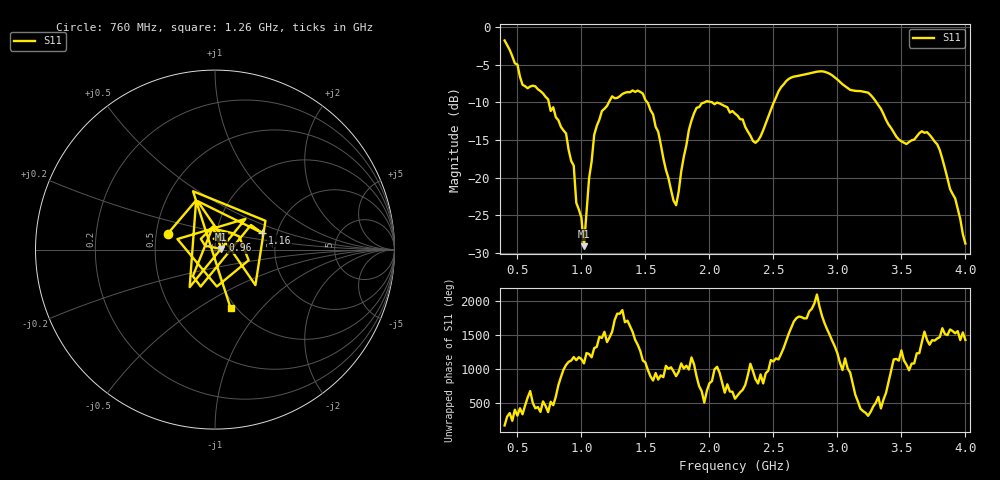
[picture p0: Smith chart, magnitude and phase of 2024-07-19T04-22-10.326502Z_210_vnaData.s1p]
!Created with skrf (http://scikit-rf.org).
# Hz S RI R 50.0
!freq ReS11 ImS11
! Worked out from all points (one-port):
!   181 points, 400 MHz to 4 GHz, reference 50 ohm
!   lowest |S11| = -29.1 dB at 1.02 GHz (marker M1), VSWR 1.07, Z = 53.6 + j0.359 ohm
!   |S11| at or under -10 dB: 745.4 MHz to 1.214 GHz (468.6 MHz wide, 47.8 % of centre); 2.022 GHz to 2.503 GHz (480.4 MHz wide, 21.2 % of centre); 3.305 GHz to end of sweep (the widest 3 of 4)
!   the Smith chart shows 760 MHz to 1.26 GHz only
!   S11 on the Smith chart (normalised r, x): 760 MHz: 0.58, +0.11; 960 MHz: 1.08, +0.12; 1.16 GHz: 1.66, +0.34; 1.26 GHz: 0.94, -0.69
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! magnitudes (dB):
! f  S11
! 400 MHz  -1.8
! 540 MHz  -7.7
! 760 MHz  -11.1
! 860 MHz  -13.7
! 940 MHz  -18.4
! 960 MHz  -23.3
! 1 GHz  -25.3
! 1.02 GHz  -29.1
! 1.06 GHz  -20.1
! 1.1 GHz  -14.3
! 1.16 GHz  -11.1
! 1.26 GHz  -9.4
! 1.3 GHz  -9.2
! 1.48 GHz  -8.8
! 1.6 GHz  -13.9
! 1.72 GHz  -23.1
! 1.76 GHz  -21.8
! 1.84 GHz  -13.6
! 1.9 GHz  -10.7
! 2.2 GHz  -11.5
! 2.36 GHz  -15.4
! 2.66 GHz  -6.6
! 2.9 GHz  -5.9
! 3.1 GHz  -8.3
! 3.24 GHz  -8.7
! 3.56 GHz  -15.3
! 3.78 GHz  -15.6
! 4 GHz  -28.8
